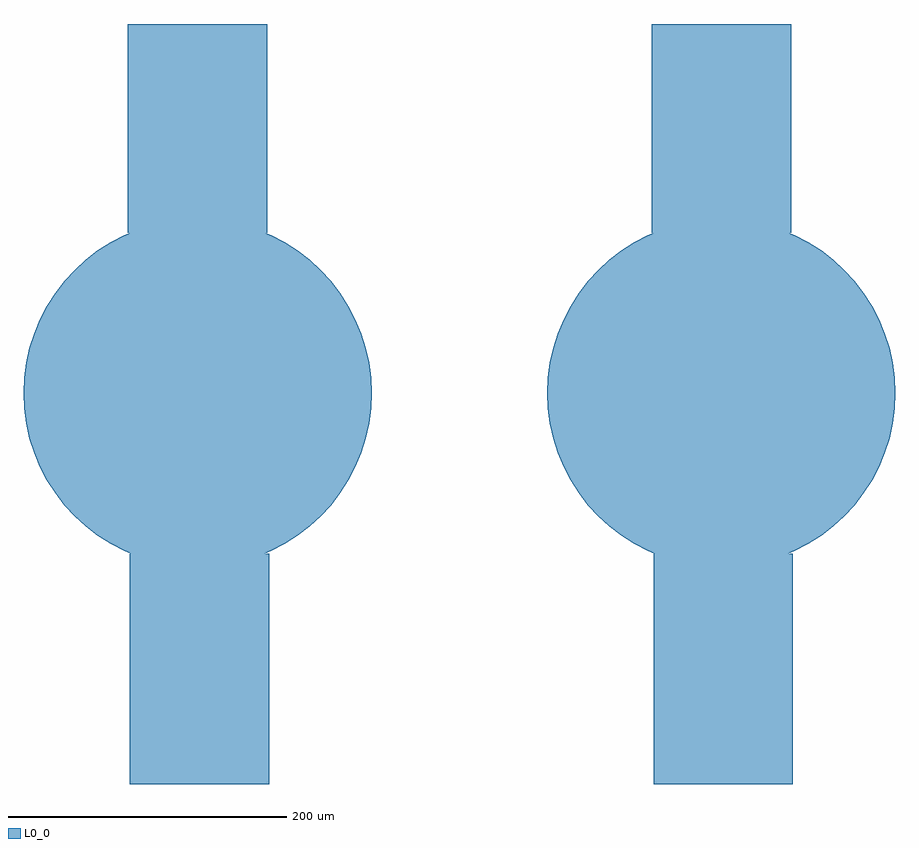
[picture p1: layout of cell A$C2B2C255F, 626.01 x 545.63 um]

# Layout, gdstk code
import gdstk
lib = gdstk.Library(unit=1e-6, precision=1e-09)
def R(c, l, rs):  # rectangles x0, y0, x1, y1
    for r in rs: c.add(gdstk.rectangle(r[:2], r[2:], *l))
def P(c, l, *ps):  # polygons
    for p in ps: c.add(gdstk.Polygon(p, *l))
L0_0 = (0, 0)

a_c2b2c255f = lib.new_cell('A$C2B2C255F')
R(a_c2b2c255f, L0_0, [(76.352,0,176.352,165.481), (452.363,0,552.363,165.481), (75,395.626,175,545.626), (451.01,395.626,551.01,545.626)])
P(a_c2b2c255f, L0_0, [(250,280.626),(249.524,291.52),(248.101,302.332),(245.741,312.978),(242.462,323.379),(238.288,333.453),(233.253,343.126),(227.394,352.323),(220.756,360.974),(213.388,369.014),(205.348,376.382),(196.697,383.02),(187.5,388.879),(177.827,393.914),(167.753,398.088),(157.352,401.367),(146.706,403.727),(135.894,405.15),(125,405.626),(114.106,405.15),(103.294,403.727),(92.648,401.367),(82.247,398.088),(72.173,393.914),(62.5,388.879),(53.303,383.02),(44.652,376.382),(36.612,369.014),(29.244,360.974),(22.606,352.323),(16.747,343.126),(11.712,333.453),(7.538,323.379),(4.259,312.978),(1.899,302.332),(0.476,291.52),(0,280.626),(0.476,269.732),(1.899,258.92),(4.259,248.274),(7.538,237.873),(11.712,227.799),(16.747,218.126),(22.606,208.929),(29.244,200.278),(36.612,192.238),(44.652,184.87),(53.303,178.232),(62.5,172.373),(72.173,167.338),(82.247,163.164),(92.648,159.885),(103.294,157.525),(114.106,156.102),(125,155.626),(135.894,156.102),(146.706,157.525),(157.352,159.885),(167.753,163.164),(177.827,167.338),(187.5,172.373),(196.697,178.232),(205.348,184.87),(213.388,192.238),(220.756,200.278),(227.394,208.929),(233.253,218.126),(238.288,227.799),(242.462,237.873),(245.741,248.274),(248.101,258.92),(249.524,269.732)],
  [(626.01,280.626),(625.534,291.52),(624.111,302.332),(621.751,312.978),(618.472,323.379),(614.298,333.453),(609.263,343.126),(603.404,352.323),(596.766,360.974),(589.398,369.014),(581.358,376.382),(572.707,383.02),(563.51,388.879),(553.837,393.914),(543.763,398.088),(533.362,401.367),(522.716,403.727),(511.904,405.15),(501.01,405.626),(490.116,405.15),(479.304,403.727),(468.658,401.367),(458.257,398.088),(448.183,393.914),(438.51,388.879),(429.313,383.02),(420.662,376.382),(412.622,369.014),(405.254,360.974),(398.616,352.323),(392.757,343.126),(387.722,333.453),(383.548,323.379),(380.269,312.978),(377.909,302.332),(376.486,291.52),(376.01,280.626),(376.486,269.732),(377.909,258.92),(380.269,248.274),(383.548,237.873),(387.722,227.799),(392.757,218.126),(398.616,208.929),(405.254,200.278),(412.622,192.238),(420.662,184.87),(429.313,178.232),(438.51,172.373),(448.183,167.338),(458.257,163.164),(468.658,159.885),(479.304,157.525),(490.116,156.102),(501.01,155.626),(511.904,156.102),(522.716,157.525),(533.362,159.885),(543.763,163.164),(553.837,167.338),(563.51,172.373),(572.707,178.232),(581.358,184.87),(589.398,192.238),(596.766,200.278),(603.404,208.929),(609.263,218.126),(614.298,227.799),(618.472,237.873),(621.751,248.274),(624.111,258.92),(625.534,269.732)])

lib.write_gds('A_C2B2C255F.gds')
